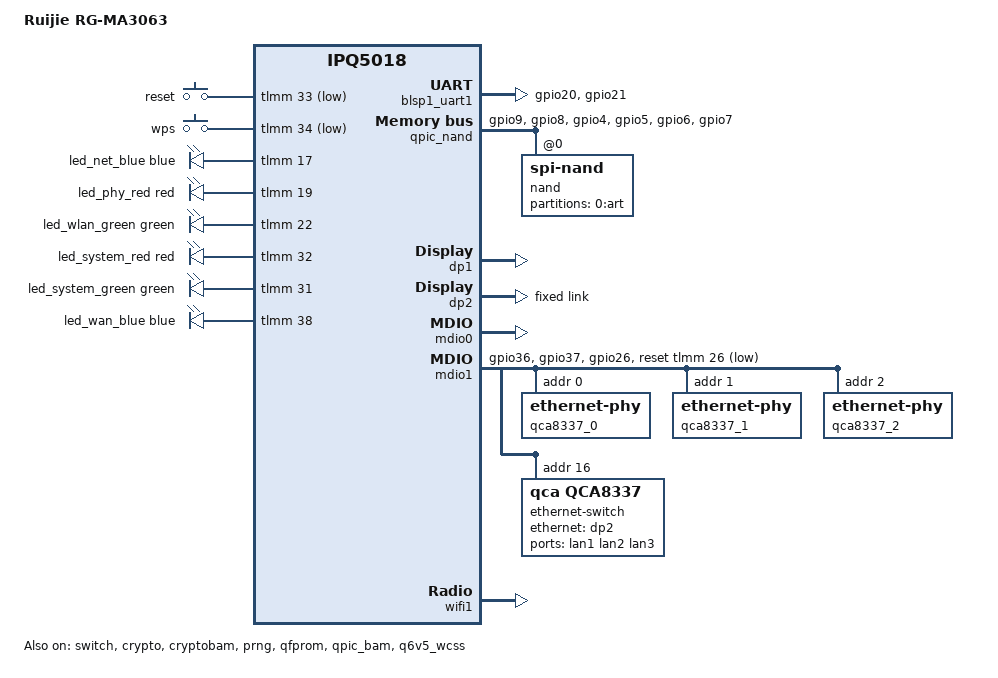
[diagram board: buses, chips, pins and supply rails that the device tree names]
// SPDX-License-Identifier: GPL-2.0-or-later OR MIT

/dts-v1/;

#include "ipq5018.dtsi"
#include "ipq5018-ess.dtsi"
#include "ipq5018-qcn6122.dtsi"

#include <dt-bindings/gpio/gpio.h>
#include <dt-bindings/input/input.h>
#include <dt-bindings/leds/common.h>

/ {
	model = "Ruijie RG-MA3063";
	compatible = "ruijie,rg-ma3063", "qcom,ipq5018";

	aliases {
		serial0 = &blsp1_uart1;
		led-boot = &led_system_green;
		led-failsafe = &led_system_red;
		led-running = &led_system_green;
		led-upgrade = &led_system_red;
	};

	chosen {
		bootargs-append = " swiotlb=1 coherent_pool=2M enforcing=0​";
		stdout-path = "serial0:115200n8";
	};

	keys {
		compatible = "gpio-keys";
		pinctrl-0 = <&button_pins>;
		pinctrl-names = "default";

		reset-button {
			label = "reset";
			gpios = <&tlmm 33 GPIO_ACTIVE_LOW>;
			linux,code = <KEY_RESTART>;
		};

		wps-button {
			label = "wps";
			gpios = <&tlmm 34 GPIO_ACTIVE_LOW>;
			linux,code = <KEY_WPS_BUTTON>;
		};
	};

	leds {
		compatible = "gpio-leds";
		pinctrl-0 = <&led_pins>;
		pinctrl-names = "default";

		led_net_blue: net-blue {
			gpios = <&tlmm 17 GPIO_ACTIVE_HIGH>;
			color = <LED_COLOR_ID_BLUE>;
			function = LED_FUNCTION_WAN_ONLINE;
			default-state = "off";
		};

		led_phy_red: phy-red {
			gpios = <&tlmm 19 GPIO_ACTIVE_HIGH>;
			color = <LED_COLOR_ID_RED>;
			function = LED_FUNCTION_LAN;
			default-state = "off";
		};

		led_wlan_green: wlan-green {
			gpios = <&tlmm 22 GPIO_ACTIVE_HIGH>;
			color = <LED_COLOR_ID_GREEN>;
			function = LED_FUNCTION_WLAN;
			default-state = "off";
		};

		led_system_red: system-red {
			gpios = <&tlmm 32 GPIO_ACTIVE_HIGH>;
			color = <LED_COLOR_ID_RED>;
			function = LED_FUNCTION_POWER;
			default-state = "off";
		};

		led_system_green: system-green {
			gpios = <&tlmm 31 GPIO_ACTIVE_HIGH>;
			color = <LED_COLOR_ID_GREEN>;
			function = LED_FUNCTION_WAN_ONLINE;
			default-state = "off";
		};

		led_wan_blue: wan-blue {
			gpios = <&tlmm 38 GPIO_ACTIVE_HIGH>;
			color = <LED_COLOR_ID_BLUE>;
			function = LED_FUNCTION_WAN;
			default-state = "off";
		};
	};
};

&switch {
	status = "okay";
	switch_mac_mode = <MAC_MODE_SGMII_CHANNEL0>;

	qcom,port_phyinfo {
		// MAC0 -> GE Phy -> QCA8337 Phy2 unused
		port@0 {
			port_id = <1>;
			mdiobus = <&mdio0>;
			phy_address = <7>;
		};

		// MAC1 ---SGMII---> QCA8337 SerDes
		port@1 {
			port_id = <2>;
			forced-speed = <1000>;
			forced-duplex = <1>;
		};
	};
};

&sleep_clk {
	clock-frequency = <32000>;
};

&xo_board_clk {
	clock-div = <4>;
	clock-mult = <1>;
};

&blsp1_uart1 {
	status = "okay";

	pinctrl-0 = <&serial_0_pins>;
	pinctrl-names = "default";
};

&crypto {
	status = "okay";
};

&cryptobam {
	status = "okay";
};

&prng {
	status = "okay";
};

&qfprom {
	status = "okay";
};

&qpic_bam {
	status = "okay";
};

&qpic_nand {
	pinctrl-0 = <&qpic_pins>;
	pinctrl-names = "default";
	status = "okay";

	nand@0 {
		compatible = "spi-nand";
		reg = <0>;
		nand-ecc-engine = <&qpic_nand>;
		nand-bus-width = <8>;

		partitions {
			compatible = "qcom,smem-part";

			partition-art {
				label = "0:art";
				read-only;

				nvmem-layout {
					compatible = "fixed-layout";
					#address-cells = <1>;
					#size-cells = <1>;

					hw_mac_addr: mac-address@0 {
						compatible = "mac-base";
						reg = <0x0 0x6>;
						#nvmem-cell-cells = <1>;
					};
				};
			};
		};
	};
};

/*
IPQ5018 dp1 -GE Phy> LAN1
IPQ5018 dp2 -SGMII> QCA8337N DSA -> LAN2-4
*/

&dp1 {
	status = "okay";

	nvmem-cells = <&hw_mac_addr 0>;
	nvmem-cell-names = "mac-address";
};

&dp2 {
	status = "okay";

	nvmem-cells = <&hw_mac_addr 1>;
	nvmem-cell-names = "mac-address";

	fixed-link {
		speed = <1000>;
		full-duplex;
	};
};

&mdio0 {
	status = "okay";
};

&mdio1 {
	status = "okay";

	pinctrl-0 = <&mdio1_pins>, <&switch_reset_pins>;
	pinctrl-names = "default";
	reset-gpios = <&tlmm 26 GPIO_ACTIVE_LOW>;

	qca8337_0: ethernet-phy@0 {
		reg = <0>;
	};

	qca8337_1: ethernet-phy@1 {
		reg = <1>;
	};

	qca8337_2: ethernet-phy@2 {
		reg = <2>;
	};

	ethernet-switch@10 {
		compatible = "qca,qca8337";
		reg = <0x10>;
		#address-cells = <1>;
		#size-cells = <0>;

		ports {
			#address-cells = <1>;
			#size-cells = <0>;

			port@1 {
				reg = <1>;
				label = "lan1";
				phy-handle = <&qca8337_0>;
			};

			port@2 {
				reg = <2>;
				label = "lan2";
				phy-handle = <&qca8337_1>;
			};

			port@3 {
				reg = <3>;
				label = "lan3";
				phy-handle = <&qca8337_2>;
			};

			// use SGMII instead of GE Phy

			port@6 {
				reg = <6>;
				phy-mode = "sgmii";
				ethernet = <&dp2>;
				qca,sgmii-enable-pll;

				fixed-link {
					speed = <1000>;
					full-duplex;
				};
			};
		};
	};
};

&tlmm {
	button_pins: button-state {
		button-pins {
			pins = "gpio34", "gpio33";
			function = "gpio";
			drive-strength = <8>;
			bias-pull-up;
		};
	};

	led_pins: led-state {
		pins = "gpio17", "gpio19", "gpio22", "gpio32", "gpio31", "gpio38";
		function = "gpio";
		drive-strength = <8>;
		bias-pull-down;
	};

	mdio1_pins: mdio-state {
		mdc-pins {
			pins = "gpio36";
			function = "mdc";
			drive-strength = <8>;
			bias-pull-up;
		};

		mdio-pins {
			pins = "gpio37";
			function = "mdio";
			drive-strength = <8>;
			bias-pull-up;
		};
	};

	qpic_pins: qpic-state {
		clock-pins {
			pins = "gpio9";
			function = "qspi_clk";
			drive-strength = <8>;
			bias-disable;
		};

		cs-pins {
			pins = "gpio8";
			function = "qspi_cs";
			drive-strength = <8>;
			bias-disable;
		};

		data-pins {
			pins = "gpio4", "gpio5", "gpio6", "gpio7";
			function = "qspi_data";
			drive-strength = <8>;
			bias-disable;
		};
	};

	serial_0_pins: uart0-state {
		pins = "gpio20", "gpio21";
		function = "blsp0_uart0";
		drive-strength = <8>;
		bias-disable;
	};

	switch_reset_pins: switch-reset-state {
		pins = "gpio26";
		function = "gpio";
		drive-strength = <8>;
		bias-pull-up;
	};
};

/*
 * ath11k Wi-Fi consumes too large memory spaces and too few spaces are
 * available for users. To prevent OOM when using LuCI or other softwares,
 * disable Wi-Fi related peripherals at the moment.
 */

&q6v5_wcss {
	status = "okay";
};

&wifi {
	// IPQ5018
	qcom,rproc = <&q6_wcss_pd1>;
	qcom,userpd-subsys-name = "q6v5_wcss_userpd1";
	qcom,ath11k-fw-memory-mode = <2>;
	qcom,bdf-addr = <0x4c400000>;

	status = "disabled";
};

&wifi1 {
	// QCN6102 5G
	qcom,rproc = <&q6_wcss_pd2>;
	qcom,userpd-subsys-name = "q6v5_wcss_userpd2";
	qcom,ath11k-fw-memory-mode = <2>;
	qcom,bdf-addr = <0x4d100000>;
	qcom,m3-dump-addr = <0x4df00000>;

	status = "okay";
};
